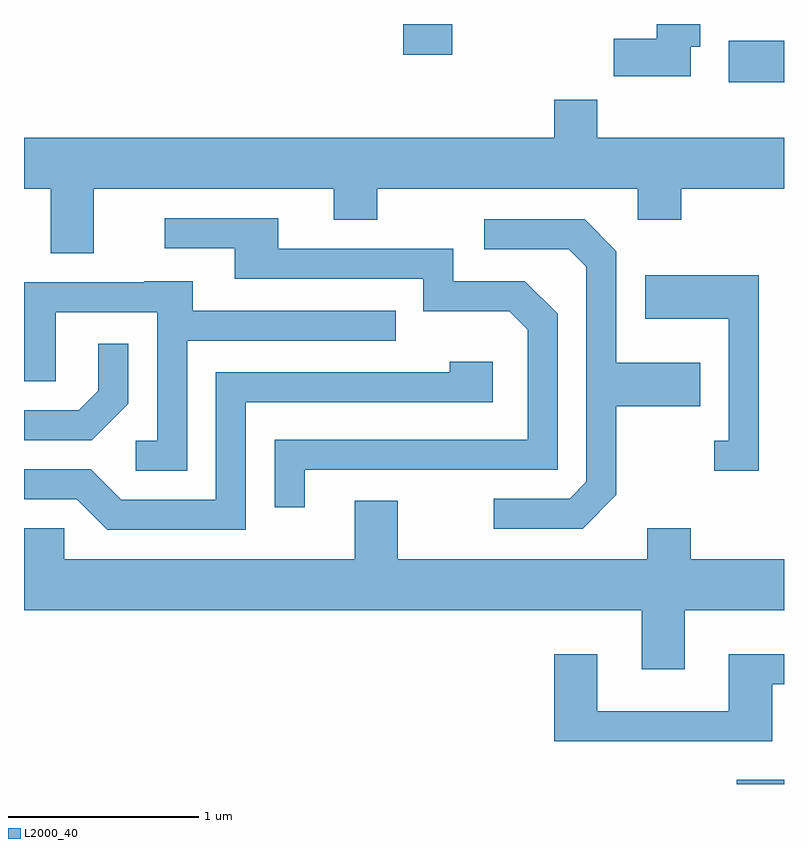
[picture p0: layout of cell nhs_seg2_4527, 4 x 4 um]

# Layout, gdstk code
import gdstk
lib = gdstk.Library(unit=1e-6, precision=1e-09)
def R(c, l, rs):  # rectangles x0, y0, x1, y1
    for r in rs: c.add(gdstk.rectangle(r[:2], r[2:], *l))
def P(c, l, *ps):  # polygons
    for p in ps: c.add(gdstk.Polygon(p, *l))
L2000_40 = (2000, 40)

nhs_seg2_4527 = lib.new_cell('nhs_seg2_4527')
R(nhs_seg2_4527, L2000_40, [(321.361,1091.802,321.611,1091.824), (321.321,1095.496,321.611,1095.714), (319.606,1095.641,319.864,1095.802)])
P(nhs_seg2_4527, L2000_40, [(321.119,1095.681),(321.169,1095.681),(321.169,1095.802),(320.941,1095.802),(320.941,1095.724),(320.716,1095.724),(320.716,1095.526),(321.119,1095.526)],
  [(317.979,1094.936),(319.241,1094.936),(319.241,1094.771),(319.469,1094.771),(319.469,1094.936),(320.841,1094.936),(320.841,1094.771),(321.069,1094.771),(321.069,1094.936),(321.611,1094.936),(321.611,1095.204),(320.629,1095.204),(320.629,1095.404),(320.401,1095.404),(320.401,1095.204),(317.611,1095.204),(317.611,1094.936),(317.751,1094.936),(317.751,1094.596),(317.979,1094.596)],
  [(319.089,1093.456),(320.419,1093.456),(320.419,1094.277),(320.247,1094.449),(319.869,1094.449),(319.869,1094.619),(318.949,1094.619),(318.949,1094.779),(318.353,1094.779),(318.353,1094.621),(318.721,1094.621),(318.721,1094.461),(319.711,1094.461),(319.711,1094.291),(320.164,1094.291),(320.261,1094.194),(320.261,1093.614),(318.931,1093.614),(318.931,1093.258),(319.089,1093.258)],
  [(320.729,1093.324),(320.729,1093.791),(321.169,1093.791),(321.169,1094.019),(320.729,1094.019),(320.729,1094.607),(320.562,1094.774),(320.033,1094.774),(320.033,1094.616),(320.479,1094.616),(320.571,1094.524),(320.571,1093.392),(320.484,1093.304),(320.083,1093.304),(320.083,1093.146),(320.552,1093.146)],
  [(321.479,1094.479),(320.881,1094.479),(320.881,1094.251),(321.321,1094.251),(321.321,1093.609),(321.243,1093.609),(321.243,1093.451),(321.479,1093.451)],
  [(318.469,1094.136),(319.568,1094.136),(319.568,1094.294),(318.499,1094.294),(318.499,1094.449),(318.245,1094.449),(318.245,1094.444),(317.611,1094.444),(317.611,1093.921),(317.779,1093.921),(317.779,1094.286),(318.311,1094.286),(318.311,1093.609),(318.198,1093.609),(318.198,1093.451),(318.469,1093.451)],
  [(318.159,1093.804),(318.159,1094.118),(318.001,1094.118),(318.001,1093.872),(317.899,1093.769),(317.611,1093.769),(317.611,1093.611),(317.967,1093.611)],
  [(318.779,1093.811),(320.079,1093.811),(320.079,1094.024),(319.851,1094.024),(319.851,1093.969),(318.621,1093.969),(318.621,1093.299),(318.122,1093.299),(317.962,1093.459),(317.611,1093.459),(317.611,1093.301),(317.889,1093.301),(318.049,1093.141),(318.779,1093.141)],
  [(321.089,1092.716),(321.611,1092.716),(321.611,1092.984),(321.119,1092.984),(321.119,1093.149),(320.891,1093.149),(320.891,1092.984),(319.579,1092.984),(319.579,1093.294),(319.351,1093.294),(319.351,1092.984),(317.824,1092.984),(317.824,1093.149),(317.611,1093.149),(317.611,1092.716),(320.861,1092.716),(320.861,1092.406),(321.089,1092.406)],
  [(321.549,1092.326),(321.611,1092.326),(321.611,1092.484),(321.321,1092.484),(321.321,1092.184),(320.629,1092.184),(320.629,1092.484),(320.401,1092.484),(320.401,1092.026),(321.549,1092.026)])

lib.write_gds('nhs_seg2_4527.gds')
